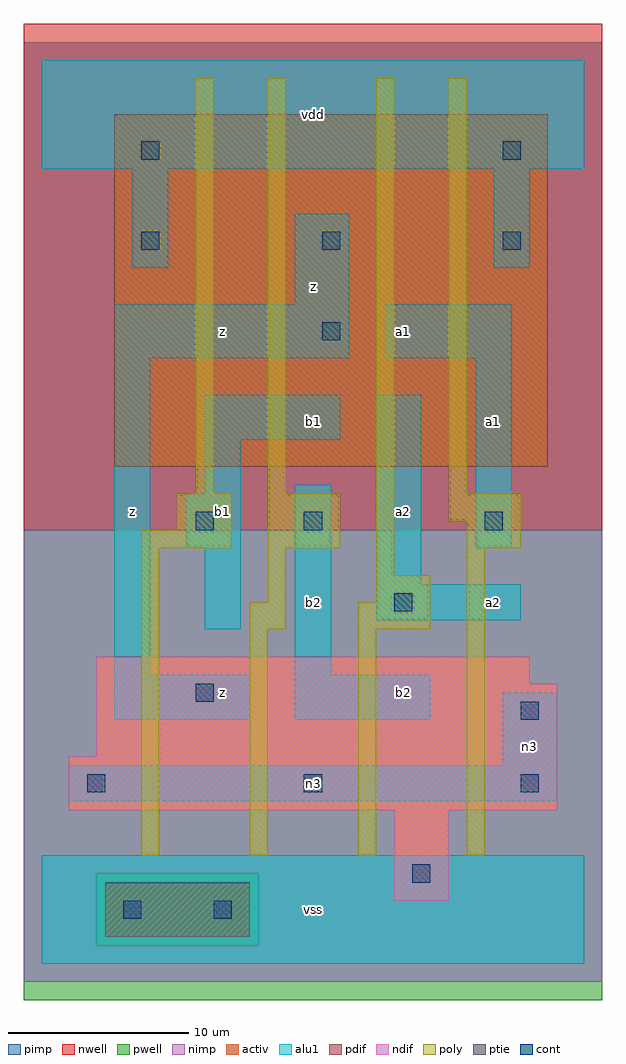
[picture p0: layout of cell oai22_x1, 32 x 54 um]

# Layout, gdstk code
import gdstk
lib = gdstk.Library(unit=1e-6, precision=1e-09)
def R(c, l, rs):  # rectangles x0, y0, x1, y1
    for r in rs: c.add(gdstk.rectangle(r[:2], r[2:], *l))
def A(c, l, x, y, w, h, nx, ny, dx, dy):  # array of equal rectangles
    R(c, l, [(x+i*dx, y+j*dy, x+i*dx+w, y+j*dy+h) for i in range(nx) for j in range(ny)])
ndif = (3, 0)
pdif = (4, 0)
ptie = (6, 0)
cont = (25, 0)
pwell = (41, 0)
nwell = (42, 0)
activ = (43, 0)
pimp = (44, 0)
nimp = (45, 0)
poly = (46, 0)
alu1 = (49, 0)

oai22_x1 = lib.new_cell('oai22_x1')
R(oai22_x1, ndif, [(19.5,3.5,22.5,8.5), (1.5,8.5,28.5,11.5), (3,11.5,28.5,15.5), (3,15.5,27,17)])
R(oai22_x1, pdif, [(4,27.5,28,47)])
R(oai22_x1, ptie, [(3.5,1.5,11.5,4.5)])
A(oai22_x1, cont, 2.5, 9.5, 1, 1, 3, 1, 12, 0)
A(oai22_x1, cont, 5.5, 39.5, 1, 1, 3, 1, 10, 0)
R(oai22_x1, cont, [(4.5,2.5,5.5,3.5), (9.5,2.5,10.5,3.5), (20.5,4.5,21.5,5.5), (26.5,13.5,27.5,14.5), (8.5,14.5,9.5,15.5), (19.5,19.5,20.5,20.5), (8.5,24,9.5,25), (14.5,24,15.5,25), (24.5,24,25.5,25), (15.5,34.5,16.5,35.5), (5.5,44.5,6.5,45.5), (25.5,44.5,26.5,45.5)])
R(oai22_x1, pwell, [(-1,-2,31,24)])
R(oai22_x1, nwell, [(-1,24,31,52)])
R(oai22_x1, activ, [(3.5,1.5,11.5,4.5), (19.5,3.5,22.5,8.5), (1.5,8.5,28.5,11.5), (3,11.5,28.5,15.5), (3,15.5,27,17), (4,27.5,28,47)])
R(oai22_x1, pimp, [(3,1,12,5), (-1,24,31,51)])
R(oai22_x1, nimp, [(-1,-1,31,1), (-1,1,3,5), (12,1,31,5), (-1,5,31,24)])
R(oai22_x1, poly, [(5.5,6,6.5,23), (11.5,6,12.5,18.5), (17.5,6,18.5,18.5), (23.5,6,24.5,23), (11.5,18.5,13.5,20), (17.5,18.5,21.5,20), (12.5,20,13.5,23), (18.5,20,21.5,21.5), (18.5,21.5,19.5,49), (5.5,23,10.5,24), (12.5,23,16.5,26), (23.5,23,26.5,24.5), (7.5,24,10.5,26), (22.5,24.5,26.5,26), (8.5,26,9.5,49), (12.5,26,13.5,49), (22.5,26,23.5,49)])
R(oai22_x1, alu1, [(0,0,30,6), (1.5,9,28.5,11), (25.5,11,28.5,15), (4,13.5,11.5,16), (14,13.5,21.5,16), (4,16,6,33.5), (14,16,16,26.5), (9,18.5,11,23), (18.5,19,26.5,21), (18.5,21,21,31.5), (8,23,11,26), (24,23,26,33.5), (9,26,11,29), (9,29,16.5,31.5), (4,33.5,17,36.5), (19,33.5,26,36.5), (14,36.5,17,41.5), (5,38.5,7,44), (25,38.5,27,44), (0,44,30,50)])
oai22_x1.add(gdstk.Label('z', (10,15), layer=49, texttype=0))
oai22_x1.add(gdstk.Label('z', (5,25), layer=49, texttype=0))
oai22_x1.add(gdstk.Label('b1', (10,25), layer=49, texttype=0))
oai22_x1.add(gdstk.Label('z', (10,35), layer=49, texttype=0))
oai22_x1.add(gdstk.Label('vss', (15,3), layer=49, texttype=0))
oai22_x1.add(gdstk.Label('b2', (15,20), layer=49, texttype=0))
oai22_x1.add(gdstk.Label('b1', (15,30), layer=49, texttype=0))
oai22_x1.add(gdstk.Label('z', (15,37.5), layer=49, texttype=0))
oai22_x1.add(gdstk.Label('vdd', (15,47), layer=49, texttype=0))
oai22_x1.add(gdstk.Label('b2', (20,15), layer=49, texttype=0))
oai22_x1.add(gdstk.Label('a2', (20,25), layer=49, texttype=0))
oai22_x1.add(gdstk.Label('a1', (20,35), layer=49, texttype=0))
oai22_x1.add(gdstk.Label('n3', (27,12), layer=49, texttype=0))
oai22_x1.add(gdstk.Label('n3', (15,10), layer=49, texttype=0))
oai22_x1.add(gdstk.Label('a2', (25,20), layer=49, texttype=0))
oai22_x1.add(gdstk.Label('a1', (25,30), layer=49, texttype=0))

lib.write_gds('oai22_x1.gds')
